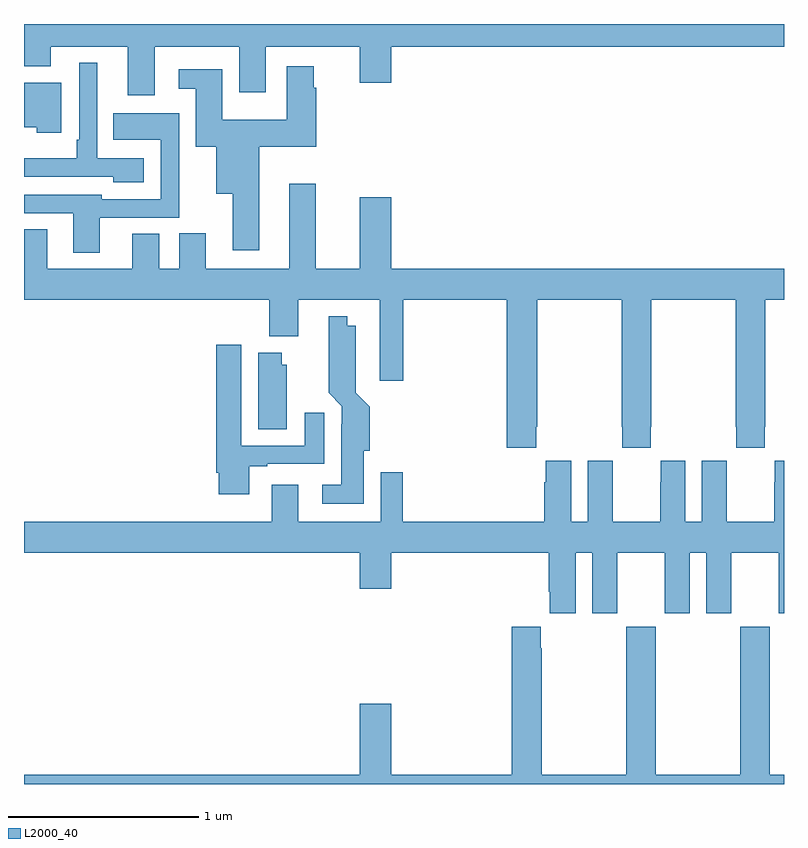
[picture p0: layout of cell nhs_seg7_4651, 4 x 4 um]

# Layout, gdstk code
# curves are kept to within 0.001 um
import gdstk
lib = gdstk.Library(unit=1e-6, precision=1e-09)
def P(c, l, *ps):  # polygons
    for p in ps: c.add(gdstk.Polygon(p, *l))
L2000_40 = (2000, 40)

nhs_seg7_4651 = lib.new_cell('nhs_seg7_4651')
P(nhs_seg7_4651, L2000_40, [(403.687,1069.88),(404.132,1069.88),(404.132,1069.641),(404.272,1069.641),(404.272,1069.88),(404.768,1069.88),(404.768,1069.692),(404.932,1069.692),(404.932,1069.88),(407,1069.88),(407,1070),(403,1070),(403,1069.778),(403.141,1069.778),(403.141,1069.88),(403.547,1069.88),(403.547,1069.626),(403.687,1069.626)],
  [(403.63,1069.293),(403.386,1069.293),(403.386,1069.795),(403.29,1069.795),(403.29,1069.39),(403.278,1069.39),(403.278,1069.294),(403,1069.294),(403,1069.197),(403.469,1069.197),(403.469,1069.166),(403.63,1069.166)],
  [(404.239,1069.355),(404.537,1069.355),(404.537,1069.664),(404.524,1069.664),(404.524,1069.777),(404.384,1069.777),(404.384,1069.495),(404.044,1069.495),(404.044,1069.762),(403.815,1069.762),(403.815,1069.658),(403.904,1069.658),(403.904,1069.355),(404.012,1069.355),(404.012,1069.106),(404.099,1069.106),(404.099,1068.81),(404.239,1068.81)],
  [(403.195,1069.69),(403,1069.69),(403,1069.457),(403.066,1069.457),(403.066,1069.427),(403.195,1069.427)],
  [(403.399,1068.981),(403.817,1068.981),(403.817,1069.531),(403.471,1069.531),(403.471,1069.391),(403.719,1069.391),(403.719,1069.077),(403.41,1069.077),(403.41,1069.101),(403,1069.101),(403,1069.005),(403.259,1069.005),(403.259,1068.797),(403.399,1068.797)],
  [(405.695,1067.881),(405.702,1067.881),(405.702,1068.548),(406.147,1068.548),(406.147,1067.881),(406.149,1067.881),(406.149,1067.769),(406.299,1067.769),(406.299,1067.881),(406.302,1067.881),(406.302,1068.548),(406.747,1068.548),(406.747,1067.881),(406.749,1067.881),(406.749,1067.769),(406.899,1067.769),(406.899,1067.881),(406.902,1067.881),(406.902,1068.548),(407,1068.548),(407,1068.712),(404.932,1068.712),(404.932,1069.087),(404.768,1069.087),(404.768,1068.712),(404.536,1068.712),(404.536,1069.159),(404.396,1069.159),(404.396,1068.712),(403.957,1068.712),(403.957,1068.9),(403.818,1068.9),(403.818,1068.712),(403.711,1068.712),(403.711,1068.896),(403.571,1068.896),(403.571,1068.712),(403.123,1068.712),(403.123,1068.919),(403,1068.919),(403,1068.548),(404.291,1068.548),(404.291,1068.356),(404.443,1068.356),(404.443,1068.548),(404.873,1068.548),(404.873,1068.123),(404.996,1068.123),(404.996,1068.548),(405.542,1068.548),(405.542,1067.769),(405.695,1067.769)],
  [(404.788,1067.754),(404.819,1067.754),(404.819,1067.986),(404.747,1068.058),(404.746,1068.412),(404.701,1068.412),(404.701,1068.463),(404.604,1068.463),(404.603,1068.058),(404.673,1067.988),(404.673,1067.894),(404.669,1067.894),(404.669,1067.575),(404.571,1067.575),(404.571,1067.474),(404.788,1067.474)],
  [(404.185,1067.673),(404.281,1067.673),(404.281,1067.685),(404.581,1067.685),(404.581,1067.953),(404.477,1067.953),(404.477,1067.781),(404.143,1067.781),(404.143,1068.313),(404.012,1068.313),(404.012,1067.638),(404.024,1067.638),(404.024,1067.526),(404.185,1067.526)],
  [(404.383,1068.207),(404.356,1068.207),(404.356,1068.271),(404.234,1068.271),(404.234,1067.866),(404.383,1067.866)],
  [(406.568,1067.701),(406.568,1067.38),(406.48,1067.38),(406.48,1067.701),(406.35,1067.701),(406.35,1067.588),(406.349,1067.588),(406.349,1067.38),(406.099,1067.38),(406.099,1067.588),(406.098,1067.588),(406.098,1067.701),(405.968,1067.701),(405.968,1067.38),(405.88,1067.38),(405.88,1067.701),(405.746,1067.701),(405.746,1067.588),(405.737,1067.588),(405.737,1067.38),(404.993,1067.38),(404.993,1067.641),(404.877,1067.641),(404.877,1067.38),(404.443,1067.38),(404.443,1067.575),(404.303,1067.575),(404.303,1067.38),(403,1067.38),(403,1067.216),(404.768,1067.216),(404.768,1067.028),(404.932,1067.028),(404.932,1067.216),(405.761,1067.216),(405.761,1067.011),(405.767,1067.011),(405.767,1066.899),(405.904,1066.899),(405.904,1067.216),(405.992,1067.216),(405.992,1066.899),(406.123,1066.899),(406.123,1067.216),(406.373,1067.216),(406.373,1066.899),(406.504,1066.899),(406.504,1067.216),(406.592,1067.216),(406.592,1066.899),(406.723,1066.899),(406.723,1067.216),(406.973,1067.216),(406.973,1066.899),(407,1066.899),(407,1067.701),(406.95,1067.701),(406.95,1067.588),(406.949,1067.588),(406.949,1067.38),(406.699,1067.38),(406.699,1067.588),(406.698,1067.588),(406.698,1067.701)],
  [(407,1066.048),(406.926,1066.048),(406.926,1066.828),(406.771,1066.828),(406.771,1066.048),(406.326,1066.048),(406.326,1066.828),(406.171,1066.828),(406.171,1066.048),(405.726,1066.048),(405.726,1066.715),(405.721,1066.715),(405.721,1066.828),(405.566,1066.828),(405.566,1066.048),(404.932,1066.048),(404.932,1066.423),(404.768,1066.423),(404.768,1066.048),(403,1066.048),(403,1066),(407,1066)])

lib.write_gds('nhs_seg7_4651.gds')
